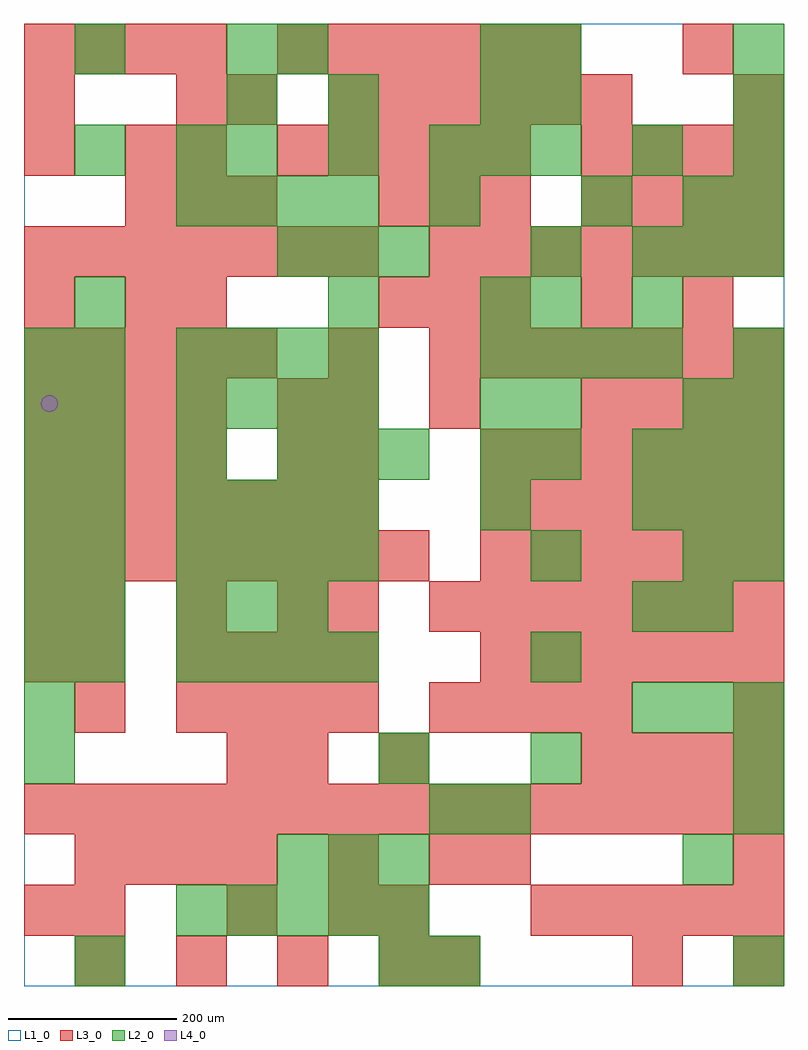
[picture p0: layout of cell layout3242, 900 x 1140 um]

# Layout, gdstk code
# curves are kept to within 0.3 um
import gdstk
lib = gdstk.Library(unit=1e-6, precision=1e-09)
def R(c, l, rs):  # rectangles x0, y0, x1, y1
    for r in rs: c.add(gdstk.rectangle(r[:2], r[2:], *l))
def A(c, l, x, y, w, h, nx, ny, dx, dy):  # array of equal rectangles
    R(c, l, [(x+i*dx, y+j*dy, x+i*dx+w, y+j*dy+h) for i in range(nx) for j in range(ny)])
def P(c, l, *ps):  # polygons
    for p in ps: c.add(gdstk.Polygon(p, *l))
L1_0 = (1, 0)
L2_0 = (2, 0)
L3_0 = (3, 0)
L4_0 = (4, 0)

layout3242 = lib.new_cell('layout3242')
R(layout3242, L1_0, [(0,0,900,1140)])
A(layout3242, L2_0, 180, 60, 60, 60, 5, 1, 60, 0)
A(layout3242, L2_0, 300, 120, 60, 60, 3, 2, 60, 720)
A(layout3242, L2_0, 0, 240, 60, 60, 1, 9, 0, 60)
A(layout3242, L2_0, 600, 240, 60, 60, 1, 4, 0, 120)
A(layout3242, L2_0, 720, 300, 60, 60, 3, 2, 60, 240)
A(layout3242, L2_0, 60, 360, 60, 60, 1, 4, 0, 60)
A(layout3242, L2_0, 180, 360, 60, 60, 4, 2, 60, 120)
A(layout3242, L2_0, 180, 420, 60, 60, 3, 1, 60, 0)
A(layout3242, L2_0, 180, 540, 60, 60, 4, 2, 60, 120)
A(layout3242, L2_0, 540, 540, 60, 60, 1, 3, 0, 60)
A(layout3242, L2_0, 60, 600, 60, 60, 3, 1, 120, 0)
A(layout3242, L2_0, 720, 600, 60, 60, 3, 2, 60, 240)
A(layout3242, L2_0, 60, 660, 60, 60, 1, 3, 0, 60)
A(layout3242, L2_0, 180, 720, 60, 60, 4, 2, 60, 180)
A(layout3242, L2_0, 540, 720, 60, 60, 4, 1, 60, 0)
A(layout3242, L2_0, 240, 960, 60, 60, 3, 1, 120, 0)
A(layout3242, L2_0, 540, 960, 60, 60, 1, 3, 0, 60)
A(layout3242, L2_0, 600, 960, 60, 60, 3, 1, 120, 0)
R(layout3242, L2_0, [(60,0,120,60), (420,0,480,60), (480,0,540,60), (840,0,900,60), (780,120,840,180), (480,180,540,240), (540,180,600,240), (840,180,900,240), (420,240,480,300), (840,240,900,300), (720,420,780,480), (780,420,840,480), (780,480,840,540), (840,480,900,540), (360,600,420,660), (420,600,480,660), (600,660,660,720), (780,660,840,720), (840,660,900,720), (840,720,900,780), (360,780,420,840), (540,780,600,840), (600,780,660,840), (720,780,780,840), (600,840,660,900), (480,900,540,960), (660,900,720,960), (780,900,840,960), (840,900,900,960), (60,960,120,1020), (180,960,240,1020), (240,1020,300,1080), (360,1020,420,1080), (600,1020,660,1080), (840,1020,900,1080), (60,1080,120,1140), (240,1080,300,1140), (300,1080,360,1140), (600,1080,660,1140), (840,1080,900,1140)])
A(layout3242, L3_0, 60, 0, 60, 60, 4, 1, 120, 0)
A(layout3242, L3_0, 600, 60, 60, 60, 5, 1, 60, 0)
A(layout3242, L3_0, 60, 120, 60, 60, 4, 1, 60, 0)
A(layout3242, L3_0, 0, 180, 60, 60, 15, 1, 60, 0)
A(layout3242, L3_0, 660, 240, 60, 60, 4, 2, 60, 420)
A(layout3242, L3_0, 180, 300, 60, 60, 4, 2, 60, 60)
A(layout3242, L3_0, 480, 300, 60, 60, 4, 1, 60, 0)
A(layout3242, L3_0, 540, 360, 60, 60, 6, 2, 60, 120)
A(layout3242, L3_0, 60, 420, 60, 60, 3, 1, 120, 0)
A(layout3242, L3_0, 480, 420, 60, 60, 7, 2, 60, 300)
A(layout3242, L3_0, 0, 480, 60, 60, 8, 1, 60, 0)
A(layout3242, L3_0, 0, 540, 60, 60, 7, 2, 60, 300)
A(layout3242, L3_0, 540, 540, 60, 60, 6, 2, 60, 60)
A(layout3242, L3_0, 0, 600, 60, 60, 4, 2, 60, 60)
A(layout3242, L3_0, 360, 600, 60, 60, 1, 3, 0, 60)
A(layout3242, L3_0, 0, 720, 60, 60, 5, 1, 60, 0)
A(layout3242, L3_0, 420, 780, 60, 60, 3, 2, 60, 120)
A(layout3242, L3_0, 480, 840, 60, 60, 7, 1, 60, 0)
A(layout3242, L3_0, 120, 900, 60, 60, 3, 1, 60, 0)
A(layout3242, L3_0, 660, 900, 60, 60, 4, 2, 60, 60)
A(layout3242, L3_0, 300, 960, 60, 60, 5, 1, 60, 0)
A(layout3242, L3_0, 360, 1020, 60, 60, 6, 1, 60, 0)
A(layout3242, L3_0, 0, 1080, 60, 60, 4, 1, 60, 0)
A(layout3242, L3_0, 300, 1080, 60, 60, 6, 1, 60, 0)
R(layout3242, L3_0, [(480,0,540,60), (720,0,780,60), (840,0,900,60), (0,60,60,120), (60,60,120,120), (240,60,300,120), (360,60,420,120), (420,60,480,120), (360,120,420,180), (480,120,540,180), (540,120,600,180), (840,120,900,180), (240,240,300,300), (300,240,360,300), (420,240,480,300), (60,300,120,360), (840,300,900,360), (0,360,60,420), (60,360,120,420), (0,420,60,480), (360,420,420,480), (300,600,360,660), (300,660,360,720), (480,660,540,720), (0,780,60,840), (120,780,180,840), (180,780,240,840), (660,780,720,840), (780,780,840,840), (0,960,60,1020), (120,960,180,1020), (180,960,240,1020), (0,1020,60,1080), (180,1020,240,1080), (240,1020,300,1080), (840,1020,900,1080), (780,1080,840,1140)])
P(layout3242, L4_0, [(40,690),(39.239,693.827),(37.071,697.071),(33.827,699.239),(30,700),(26.173,699.239),(22.929,697.071),(20.761,693.827),(20,690),(20.761,686.173),(22.929,682.929),(26.173,680.761),(30,680),(33.827,680.761),(37.071,682.929),(39.239,686.173)])

lib.write_gds('layout3242.gds')
